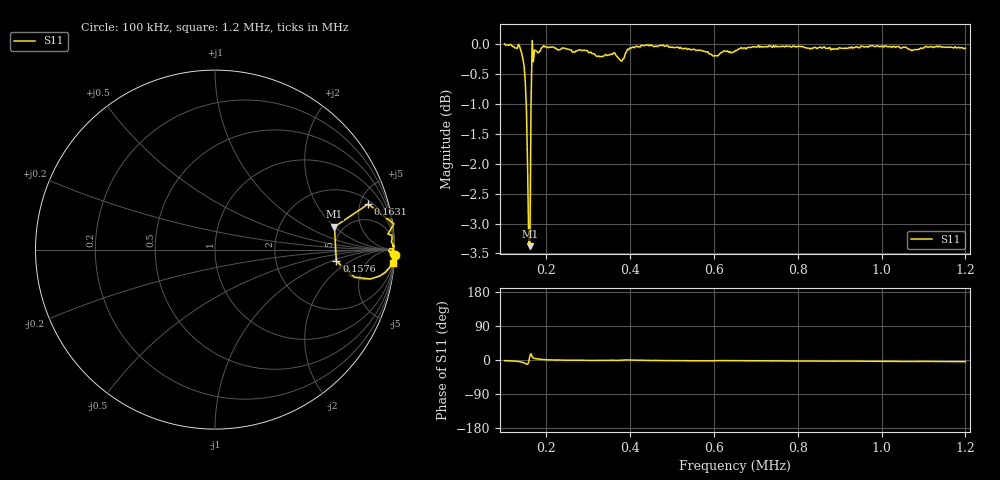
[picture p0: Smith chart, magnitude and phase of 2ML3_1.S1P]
!Agilent Technologies,E5071C,MY46100265,A.07.02
!Date: Wed Mar 04 14:55:11 2020
!Data & Calibration Information:
!Freq	S11:SOLT1(ON)
# Hz S MA R 50
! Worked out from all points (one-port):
!   402 points, 100 kHz to 1.2 MHz, reference 50 ohm
!   lowest |S11| = -3.4 dB at 160.3 kHz (marker M1), VSWR 5.21, Z = 211 + j99.4 ohm
!   |S11| at or under -10 dB: nowhere
!   S11 on the Smith chart (normalised r, x): 100 kHz: -2, -62; 157.6 kHz: 4.95, -1.16; 163.1 kHz: 2.42, +5.91; 1.2 MHz: 3, -27
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100000  1.001 -1.8
124688  0.9928 -2.9
135661  0.9961 -4.4
141147  0.9816 -5.6
146633  0.9579 -7.6
149377  0.9294 -9.1
152120  0.8806 -10.7
154863  0.7923 -11.1
157606  0.679 -5.3
160349  0.6777 10.8
163092  0.8903 16.6
165835  1.007 8.2
168579  0.9669 5.2
171322  0.9888 4.6
182294  0.985 2.3
193267  0.9974 1.1
239900  0.9925 -0.3
308479  0.9824 -1.1
377057  0.9689 -0.6
388030  0.9817 0.4
409975  0.9934 -0.5
514214  0.9946 -1.7
601995  0.9783 -1.8
651372  0.9884 -1.5
788529  0.9968 -2.6
925686  0.9928 -3.0
1062843  0.9913 -3.8
1200000  0.9926 -4.3
